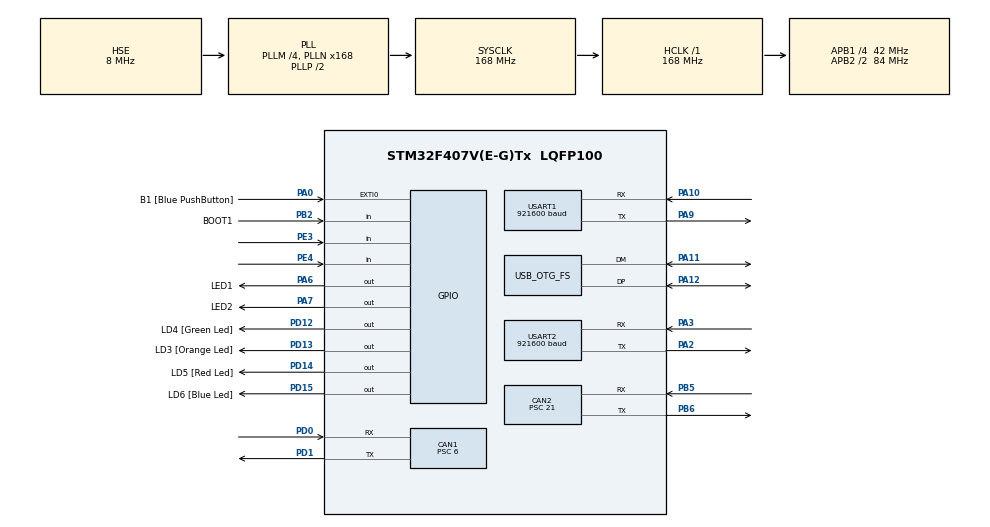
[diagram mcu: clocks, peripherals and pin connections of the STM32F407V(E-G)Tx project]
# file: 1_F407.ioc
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CAN1.BS1=CAN_BS1_11TQ
CAN1.BS2=CAN_BS2_2TQ
CAN1.CalculateBaudRate=500000
CAN1.CalculateTimeBit=2000
CAN1.CalculateTimeQuantum=142.85714285714286
CAN1.Prescaler=6
CAN2.BS1=CAN_BS1_13TQ
CAN2.BS2=CAN_BS2_2TQ
CAN2.CalculateBaudRate=125000
CAN2.CalculateTimeBit=8000
CAN2.CalculateTimeQuantum=500.0
CAN2.Prescaler=21
Dma.Request0=USART1_RX
Dma.Request1=USART1_TX
Dma.Request2=USART2_TX
Dma.Request3=USART2_RX
Dma.USART1_RX.0.Direction=DMA_PERIPH_TO_MEMORY
Dma.USART1_RX.0.FIFOMode=DMA_FIFOMODE_DISABLE
Dma.USART1_RX.0.Instance=DMA2_Stream2
Dma.USART1_RX.0.MemDataAlignment=DMA_MDATAALIGN_BYTE
Dma.USART1_RX.0.MemInc=DMA_MINC_ENABLE
Dma.USART1_RX.0.Mode=DMA_NORMAL
Dma.USART1_RX.0.PeriphDataAlignment=DMA_PDATAALIGN_BYTE
Dma.USART1_RX.0.PeriphInc=DMA_PINC_DISABLE
Dma.USART1_RX.0.Priority=DMA_PRIORITY_LOW
Dma.USART1_TX.1.Direction=DMA_MEMORY_TO_PERIPH
Dma.USART1_TX.1.FIFOMode=DMA_FIFOMODE_DISABLE
Dma.USART1_TX.1.Instance=DMA2_Stream7
Dma.USART1_TX.1.MemDataAlignment=DMA_MDATAALIGN_BYTE
Dma.USART1_TX.1.MemInc=DMA_MINC_ENABLE
Dma.USART1_TX.1.Mode=DMA_NORMAL
Dma.USART1_TX.1.PeriphDataAlignment=DMA_PDATAALIGN_BYTE
Dma.USART1_TX.1.PeriphInc=DMA_PINC_DISABLE
Dma.USART1_TX.1.Priority=DMA_PRIORITY_LOW
Dma.USART2_RX.3.Direction=DMA_PERIPH_TO_MEMORY
Dma.USART2_RX.3.FIFOMode=DMA_FIFOMODE_DISABLE
Dma.USART2_RX.3.Instance=DMA1_Stream5
Dma.USART2_RX.3.MemDataAlignment=DMA_MDATAALIGN_BYTE
Dma.USART2_RX.3.MemInc=DMA_MINC_ENABLE
Dma.USART2_RX.3.Mode=DMA_NORMAL
Dma.USART2_RX.3.PeriphDataAlignment=DMA_PDATAALIGN_BYTE
Dma.USART2_RX.3.PeriphInc=DMA_PINC_DISABLE
Dma.USART2_RX.3.Priority=DMA_PRIORITY_LOW
Dma.USART2_TX.2.Direction=DMA_MEMORY_TO_PERIPH
Dma.USART2_TX.2.FIFOMode=DMA_FIFOMODE_DISABLE
Dma.USART2_TX.2.Instance=DMA1_Stream6
Dma.USART2_TX.2.MemDataAlignment=DMA_MDATAALIGN_BYTE
Dma.USART2_TX.2.MemInc=DMA_MINC_ENABLE
Dma.USART2_TX.2.Mode=DMA_NORMAL
Dma.USART2_TX.2.PeriphDataAlignment=DMA_PDATAALIGN_BYTE
Dma.USART2_TX.2.PeriphInc=DMA_PINC_DISABLE
Dma.USART2_TX.2.Priority=DMA_PRIORITY_LOW
Mcu.Family=STM32F4
Mcu.Name=STM32F407V(E-G)Tx
Mcu.Package=LQFP100
NVIC.CAN1_RX0_IRQn=true\:0\:0\:false\:false\:true\:true\:true\:true
NVIC.CAN1_RX1_IRQn=true\:0\:0\:false\:false\:true\:true\:true\:true
NVIC.CAN1_SCE_IRQn=true\:0\:0\:false\:false\:true\:true\:true\:true
NVIC.CAN1_TX_IRQn=true\:0\:0\:false\:false\:true\:true\:true\:true
NVIC.DMA1_Stream5_IRQn=true\:0\:0\:false\:false\:true\:false\:true\:true
NVIC.DMA1_Stream6_IRQn=true\:0\:0\:false\:false\:true\:false\:true\:true
NVIC.DMA2_Stream2_IRQn=true\:0\:0\:false\:false\:true\:false\:true\:true
NVIC.DMA2_Stream7_IRQn=true\:0\:0\:false\:false\:true\:false\:true\:true
NVIC.OTG_FS_IRQn=true\:0\:0\:false\:false\:true\:false\:true\:true
NVIC.PriorityGroup=NVIC_PRIORITYGROUP_0
NVIC.TIM4_IRQn=true\:0\:0\:false\:false\:true\:true\:true\:true
NVIC.TIM8_TRG_COM_TIM14_IRQn=true\:0\:0\:false\:false\:true\:true\:true\:true
NVIC.USART1_IRQn=true\:0\:0\:false\:false\:true\:true\:true\:true
NVIC.USART2_IRQn=true\:0\:0\:false\:false\:true\:true\:true\:true
PA0-WKUP.GPIO_Label=B1 [Blue PushButton]
PA0-WKUP.GPIO_ModeDefaultEXTI=GPIO_MODE_EVT_RISING
PA0-WKUP.GPIO_PuPd=GPIO_NOPULL
PA0-WKUP.Signal=GPXTI0
PA10.Mode=Asynchronous
PA10.Signal=USART1_RX
PA11.Mode=Device_Only
PA11.Signal=USB_OTG_FS_DM
PA12.Mode=Device_Only
PA12.Signal=USB_OTG_FS_DP
PA13.GPIO_Label=SWDIO
PA13.Mode=Serial_Wire
PA13.Signal=SYS_JTMS-SWDIO
PA14.GPIO_Label=SWCLK
PA14.Mode=Serial_Wire
PA14.Signal=SYS_JTCK-SWCLK
PA2.Mode=Asynchronous
PA2.Signal=USART2_TX
PA3.Mode=Asynchronous
PA3.Signal=USART2_RX
PA6.GPIO_Label=LED1
PA6.PinState=GPIO_PIN_SET
PA6.Signal=GPIO_Output
PA7.GPIO_Label=LED2
PA7.PinState=GPIO_PIN_SET
PA7.Signal=GPIO_Output
PA9.Mode=Asynchronous
PA9.Signal=USART1_TX
PB2.GPIO_Label=BOOT1
PB2.GPIO_Mode=GPIO_MODE_INPUT
PB2.GPIO_PuPd=GPIO_NOPULL
PB2.Signal=GPIO_Input
PB3.GPIO_Label=SWO
PB3.Signal=SYS_JTDO-SWO
PB5.Mode=CAN_Activate
PB5.Signal=CAN2_RX
PB6.Mode=CAN_Activate
PB6.Signal=CAN2_TX
PC14-OSC32_IN.GPIO_Label=PC14-OSC32_IN
PC14-OSC32_IN.Mode=LSE-External-Oscillator
PC14-OSC32_IN.Signal=RCC_OSC32_IN
PC15-OSC32_OUT.GPIO_Label=PC15-OSC32_OUT
PC15-OSC32_OUT.Mode=LSE-External-Oscillator
PC15-OSC32_OUT.Signal=RCC_OSC32_OUT
PD0.Mode=CAN_Activate
PD0.Signal=CAN1_RX
PD1.Mode=CAN_Activate
PD1.Signal=CAN1_TX
PD12.GPIO_Label=LD4 [Green Led]
PD12.GPIO_PuPd=GPIO_NOPULL
PD12.GPIO_Speed=GPIO_SPEED_FREQ_LOW
PD12.Signal=GPIO_Output
PD13.GPIO_Label=LD3 [Orange Led]
PD13.GPIO_PuPd=GPIO_NOPULL
PD13.GPIO_Speed=GPIO_SPEED_FREQ_LOW
PD13.Signal=GPIO_Output
PD14.GPIO_Label=LD5 [Red Led]
PD14.GPIO_PuPd=GPIO_NOPULL
PD14.GPIO_Speed=GPIO_SPEED_FREQ_LOW
PD14.Signal=GPIO_Output
PD15.GPIO_Label=LD6 [Blue Led]
PD15.GPIO_PuPd=GPIO_NOPULL
PD15.GPIO_Speed=GPIO_SPEED_FREQ_LOW
PD15.Signal=GPIO_Output
PE3.Signal=GPIO_Input
PE4.Signal=GPIO_Input
PH0-OSC_IN.GPIO_Label=PH0-OSC_IN
PH0-OSC_IN.Mode=HSE-External-Oscillator
PH0-OSC_IN.Signal=RCC_OSC_IN
PH1-OSC_OUT.GPIO_Label=PH1-OSC_OUT
PH1-OSC_OUT.Mode=HSE-External-Oscillator
PH1-OSC_OUT.Signal=RCC_OSC_OUT
ProjectManager.HeapSize=0x800
ProjectManager.StackSize=0x800
ProjectManager.TargetToolchain=STM32CubeIDE
RCC.48MHZClocksFreq_Value=48000000
RCC.AHBFreq_Value=168000000
RCC.APB1CLKDivider=RCC_HCLK_DIV4
RCC.APB1Freq_Value=42000000
RCC.APB1TimFreq_Value=84000000
RCC.APB2CLKDivider=RCC_HCLK_DIV2
RCC.APB2Freq_Value=84000000
RCC.APB2TimFreq_Value=168000000
RCC.CortexFreq_Value=168000000
RCC.HCLKFreq_Value=168000000
RCC.HSE_VALUE=8000000
RCC.HSI_VALUE=16000000
RCC.PLLI2SN=50
RCC.PLLM=4
RCC.PLLN=168
RCC.PLLQ=7
RCC.SYSCLKFreq_VALUE=168000000
RCC.SYSCLKSource=RCC_SYSCLKSOURCE_PLLCLK
RCC.VCOOutputFreq_Value=336000000
TIM14.Period=999
TIM14.Prescaler=167
TIM4.Period=999
TIM4.Prescaler=167
TIM4.TIM_MasterOutputTrigger=TIM_TRGO_UPDATE
USART1.BaudRate=921600
USART1.StopBits=STOPBITS_2
USART1.VirtualMode=VM_ASYNC
USART2.BaudRate=921600
USART2.StopBits=STOPBITS_2
USART2.VirtualMode=VM_ASYNC
USB_DEVICE.APP_RX_DATA_SIZE-CDC_FS=2048
USB_DEVICE.CLASS_NAME_FS=CDC
USB_DEVICE.VirtualMode-CDC_FS=Cdc
USB_DEVICE.VirtualModeFS=Cdc_FS
USB_OTG_FS.VirtualMode=Device_Only
VP_TIM14_VS_ClockSourceINT.Mode=Enable_Timer
VP_TIM4_VS_ClockSourceINT.Mode=Internal
VP_USB_DEVICE_VS_USB_DEVICE_CDC_FS.Mode=CDC_FS
board=STM32F407G-DISC1

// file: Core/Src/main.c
/* USER CODE BEGIN Header */
/**
  ******************************************************************************
  * @file           : main.c
  * @brief          : Main program body
  ******************************************************************************
  * @attention
  *
  * Copyright (c) 2024 STMicroelectronics.
  * All rights reserved.
  *
  * This software is licensed under terms that can be found in the LICENSE file
  * in the root directory of this software component.
  * If no LICENSE file comes with this software, it is provided AS-IS.
  *
  *
  *
  *			UPPER__Located__PCBmodul__STM32F407
  *
  *				NodeID = 103
  *
  ******************************************************************************
  */
/* USER CODE END Header */
#include "main.h"
#include "usb_device.h"

/* USER CODE BEGIN Includes */
#include "CO_app_STM32.h"
#include "301/CO_SDOclient.h"
#include "CANopen.h"
#include "OD.h"
/* USER CODE END Includes */

/* USER CODE BEGIN PD */
#define TerminalInterface	huart1
/* USER CODE END PD */

CAN_HandleTypeDef hcan1;
CAN_HandleTypeDef hcan2;

TIM_HandleTypeDef htim4;
TIM_HandleTypeDef htim14;

UART_HandleTypeDef huart1;
UART_HandleTypeDef huart2;
DMA_HandleTypeDef hdma_usart1_rx;
DMA_HandleTypeDef hdma_usart1_tx;
DMA_HandleTypeDef hdma_usart2_tx;
DMA_HandleTypeDef hdma_usart2_rx;

/* USER CODE BEGIN PV */
uint8_t Tx_Array[16]={0x51,0x62,0x73,0x84,0x55,0x46,0x87,0x18,0x29,0x10,0x11,0x12,0x13,0x14,0x15,0x33};
uint8_t Rx_Array[16]={0};
uint32_t Array_32u[16]={0};
uint8_t Array_8u[16]={0x54,0x34,0x21,0xea,0xf3,0x7a,0xd4,0x46};
uint8_t Length_of_Ext_Var=0;
uint8_t Local_Count=0;

CAN_TxHeaderTypeDef Tx_Header;
uint32_t            TxMailbox;
uint32_t            tmp32u_1   = 0x1e1f1a1b;
uint32_t            tmp32u_0   = 0x0e0f0a0b;
uint64_t            tmp64u_0   = 0x0e1f1a1b56789a;
uint64_t            tmp64u_1   = 0x0e1f1a1b56789a;
uint32_t            Ticks;
char String_H[]={"String_for_Test_UART_"};

/* USER CODE END PV */

void SystemClock_Config(void);
static void MX_GPIO_Init(void);
static void MX_DMA_Init(void);
static void MX_TIM14_Init(void);
static void MX_CAN2_Init(void);
static void MX_CAN1_Init(void);
static void MX_USART1_UART_Init(void);
static void MX_USART2_UART_Init(void);
static void MX_TIM4_Init(void);

/* USER CODE BEGIN 0 */

/* Timer interrupt function executes every 1 ms */
void
HAL_TIM_PeriodElapsedCallback(TIM_HandleTypeDef* htim) {
    if (htim == canopenNodeSTM32->timerHandle) {
        canopen_app_interrupt();
    }
}

CO_SDO_abortCode_t
read_SDO (
		  CO_SDOclient_t* SDO_C,
		  uint8_t nodeId,
		  uint16_t index,
		  uint8_t subIndex,
		  uint8_t* buf,
		  size_t bufSize,
		  size_t* readSize
		  )
{
    CO_SDO_return_t SDO_ret;

    // setup client (this can be skipped, if remote device don't change)
    SDO_ret = CO_SDOclient_setup (
    								SDO_C, CO_CAN_ID_SDO_CLI + nodeId,
									CO_CAN_ID_SDO_SRV + nodeId,
									nodeId);

    if (SDO_ret != CO_SDO_RT_ok_communicationEnd) { return CO_SDO_AB_GENERAL; }

    // initiate upload
    SDO_ret = CO_SDOclientUploadInitiate ( SDO_C,
    										index,
											subIndex,
											1000,
											false);

    if (SDO_ret != CO_SDO_RT_ok_communicationEnd) { return CO_SDO_AB_GENERAL; }

    // upload data
    do 	{
        uint32_t timeDifference_us = 10000;
        CO_SDO_abortCode_t abortCode = CO_SDO_AB_NONE;

        SDO_ret = CO_SDOclientUpload(SDO_C, timeDifference_us, false, &abortCode, NULL, NULL, NULL);

        if (SDO_ret < 0) {  return abortCode;  }

        HAL_Delay(timeDifference_us/1000);// sleep_us(timeDifference_us);

    	} while (SDO_ret > 0);

    // copy data to the user buffer (for long data function must be called several times inside the loop)
    *readSize = CO_SDOclientUploadBufRead(SDO_C, buf, bufSize);

    return CO_SDO_AB_NONE;
}

CO_SDO_abortCode_t
write_SDO (
			CO_SDOclient_t* SDO_C,
			uint8_t nodeId,
			uint16_t index,
			uint8_t subIndex,
			uint8_t* data,
			size_t dataSize
			)
{
    CO_SDO_return_t SDO_ret;
    bool_t bufferPartial = false;

    // setup client (this can be skipped, if remote device is the same)
    SDO_ret = CO_SDOclient_setup (	SDO_C,
    								CO_CAN_ID_SDO_CLI + nodeId,
									CO_CAN_ID_SDO_SRV + nodeId,
									nodeId);

    if (SDO_ret != CO_SDO_RT_ok_communicationEnd) { return -1; }

    // initiate download
    SDO_ret = CO_SDOclientDownloadInitiate(SDO_C, index, subIndex, dataSize, 1000, false);

    if (SDO_ret != CO_SDO_RT_ok_communicationEnd) /**< Success, end of communication. SDO client: uploaded data must be read. */
    	{ return -1; }

    // fill data
    size_t nWritten = CO_SDOclientDownloadBufWrite(SDO_C, data, dataSize);

    if (nWritten < dataSize) { bufferPartial = true; } // If SDO Fifo buffer is too small, data can be refilled in the loop.

    // download data
    do {
        uint32_t timeDifference_us = 10000;
        CO_SDO_abortCode_t abortCode = CO_SDO_AB_NONE;

        SDO_ret = CO_SDOclientDownload (	SDO_C,
        									timeDifference_us,
											false, bufferPartial,
											&abortCode,
											NULL,
											NULL
										);

        if (SDO_ret < 0) {  return abortCode;}

        HAL_Delay(timeDifference_us/1000); //sleep_us(timeDifference_us);

       } while (SDO_ret > 0);

    return CO_SDO_AB_NONE;
}
/* USER CODE END 0 */

int main(void)
{

  /* MCU Configuration--------------------------------------------------------*/

  /* Reset of all peripherals, Initializes the Flash interface and the Systick. */
  HAL_Init();

  /* Configure the system clock */
  SystemClock_Config();

  /* Initialize all configured peripherals */
  MX_GPIO_Init();
  MX_DMA_Init();
  MX_TIM14_Init();
  MX_CAN2_Init();
  MX_CAN1_Init();
  MX_USART1_UART_Init();
  MX_USB_DEVICE_Init();
  MX_USART2_UART_Init();
  MX_TIM4_Init();
  /* USER CODE BEGIN 2 */
  /* CANHandle : Pass in the CAN Handle to this function and it wil be used for all CAN Communications. It can be FDCan or CAN
   * and CANOpenSTM32 Driver will take of care of handling that
   * HWInitFunction : Pass in the function that initialize the CAN peripheral, usually MX_CAN_Init
   * timerHandle : Pass in the timer that is going to be used for generating 1ms interrupt for tmrThread function,
   * please note that CANOpenSTM32 Library will override HAL_TIM_PeriodElapsedCallback function, if you also need this function
   * in your codes, please take required steps
   * desiredNodeID : This is the Node ID that you ask the CANOpen stack to assign to your device, although it might not always
   * be the final NodeID, after calling canopen_app_init() you should check ActiveNodeID of CANopenNodeSTM32 structure for assigned Node ID.
   * baudrate: This is the baudrate you've set in your CubeMX Configuration
   *
   */

//  HAL_Delay(500);
//  Local_Count = sizeof String_H;
//  String_H[Local_Count-1] = 0x0d;
//  HAL_UART_Transmit_DMA( &TerminalInterface, (uint8_t*)(String_H), Local_Count);
//  while (1){}
 #if 0
  Tx_Header.IDE    = CAN_ID_STD;
  Tx_Header.ExtId  = 0;
  Tx_Header.DLC    = 8;
  Tx_Header.StdId  = 0x7AA;
  Tx_Header.RTR    = CAN_RTR_DATA;
  HAL_CAN_Start(&hcan1);  HAL_Delay(1500);

  if(HAL_CAN_AddTxMessage( &hcan1,
    		               &Tx_Header,
							Tx_Array, &TxMailbox )==HAL_OK
  	 )
	  {  /* Wait transmission complete */
	  //while(HAL_CAN_GetTxMailboxesFreeLevel(&hcan1) != 3) {}
		  for(uint8_t cnt=0;cnt<22;cnt++)
		  {
		   HAL_GPIO_TogglePin(LED2_GPIO_Port, LED2_Pin);//green
		   HAL_Delay(46);
		  }
	  }
#endif

  for(uint8_t cnt=0;cnt<50;cnt++)
  {
	  	HAL_GPIO_TogglePin(GPIOA, GPIO_PIN_6 );//yellow
	  	//HAL_GPIO_TogglePin(GPIOA, GPIO_PIN_7 );//green
  HAL_Delay(33);
  }

  HAL_TIM_Base_Start_IT(&htim4);

   CANopenNodeSTM32 canOpenNodeSTM32;
   canOpenNodeSTM32.CANHandle = &hcan1;
   canOpenNodeSTM32.HWInitFunction = MX_CAN1_Init;
   canOpenNodeSTM32.timerHandle = &htim4;
   canOpenNodeSTM32.desiredNodeID = 0x67;			//103
   canOpenNodeSTM32.baudrate = 125*4;
   canopen_app_init(&canOpenNodeSTM32);

  /* USER CODE END 2 */

  /* Infinite loop */
  /* USER CODE BEGIN WHILE */

	  read_SDO (
			    canOpenNodeSTM32.canOpenStack->SDOclient,
			  	72,										//remote desiredNodeID
				0x6038,										//Index_of_OD_variable_at_remote_NodeID
				0x0E,											//Sub_Index_of_OD_variable
				Rx_Array,									//Saved_Received_Data
				4,											//Number_of_Byte_to_read
				(size_t*)&Length_of_Ext_Var );

	  HAL_Delay(100);

	  	  TerminalInterface.gState = HAL_UART_STATE_READY;
		HAL_UART_Transmit_DMA( &TerminalInterface, (uint8_t*)Rx_Array, 8);

		  	  write_SDO(
		  			    canOpenNodeSTM32.canOpenStack->SDOclient,
		  			  	72,										//remote desiredNodeID
		  				0x6038,										//Index_of_OD_variable_at_remote_NodeID
						0x0E,											//Sub_Index_of_OD_variable
		  				Array_8u,									//
		  				4);

		  	  HAL_Delay(100);

  	  read_SDO (
  			    canOpenNodeSTM32.canOpenStack->SDOclient,
  			  	72,										//remote desiredNodeID
  				0x6038,										//Index_of_OD_variable_at_remote_NodeID
  				0x0E,											//Sub_Index_of_OD_variable
  				Rx_Array,									//Saved_Received_Data
  				4,											//Number_of_Byte_to_read
  				(size_t*)&Length_of_Ext_Var );

	  HAL_Delay(100);

	  TerminalInterface.gState = HAL_UART_STATE_READY;
	  HAL_UART_Transmit_DMA( &TerminalInterface, (uint8_t*)Rx_Array, 8);

	  HAL_Delay(100);

		  OD_PERSIST_COMM.x6000_upper_F4XX_VAR32_6000_TX=0;
		  Local_Count=0;
		  while (1)
		  {
			  HAL_GPIO_WritePin(GPIOA, GPIO_PIN_6, !canOpenNodeSTM32.outStatusLEDGreen);
			  HAL_GPIO_WritePin(GPIOA, GPIO_PIN_7, canOpenNodeSTM32.outStatusLEDRed  );

			  canopen_app_process();

			  			if(tmp32u_0 != OD_PERSIST_COMM.x6001_upper_F4XX_VAR32_6001R)
			  			{
			  			tmp32u_0 = OD_PERSIST_COMM.x6001_upper_F4XX_VAR32_6001R;

			  			TerminalInterface.gState = HAL_UART_STATE_READY;
			  			HAL_UART_Transmit_DMA( &TerminalInterface, (uint8_t*)(&tmp32u_0), 4);
			  			}

			  			if(tmp32u_1 != OD_PERSIST_COMM.x6002_upper_F4XX_VAR32_6002R)
			  			{
			  			tmp32u_1 = OD_PERSIST_COMM.x6002_upper_F4XX_VAR32_6002R;
			  			TerminalInterface.gState = HAL_UART_STATE_READY;
			  			HAL_UART_Transmit_DMA( &TerminalInterface, (uint8_t*)(&tmp32u_1), 4);
			  			}

			  		  if(HAL_GetTick() - Ticks>999)
			  		  {
			  			  Ticks = HAL_GetTick();
			  			CO_TPDOsendRequest(&canOpenNodeSTM32.canOpenStack->TPDO[0] );
			  		  }

    /* USER CODE END WHILE */

  }
}

void SystemClock_Config(void)
{
  RCC_OscInitTypeDef RCC_OscInitStruct = {0};
  RCC_ClkInitTypeDef RCC_ClkInitStruct = {0};

  /** Configure the main internal regulator output voltage
  */
  __HAL_RCC_PWR_CLK_ENABLE();
  __HAL_PWR_VOLTAGESCALING_CONFIG(PWR_REGULATOR_VOLTAGE_SCALE1);

  /** Initializes the RCC Oscillators according to the specified parameters
  * in the RCC_OscInitTypeDef structure.
  */
  RCC_OscInitStruct.OscillatorType = RCC_OSCILLATORTYPE_HSE;
  RCC_OscInitStruct.HSEState = RCC_HSE_ON;
  RCC_OscInitStruct.PLL.PLLState = RCC_PLL_ON;
  RCC_OscInitStruct.PLL.PLLSource = RCC_PLLSOURCE_HSE;
  RCC_OscInitStruct.PLL.PLLM = 4;
  RCC_OscInitStruct.PLL.PLLN = 168;
  RCC_OscInitStruct.PLL.PLLP = RCC_PLLP_DIV2;
  RCC_OscInitStruct.PLL.PLLQ = 7;
  if (HAL_RCC_OscConfig(&RCC_OscInitStruct) != HAL_OK)
  {
    Error_Handler();
  }

  /** Initializes the CPU, AHB and APB buses clocks
  */
  RCC_ClkInitStruct.ClockType = RCC_CLOCKTYPE_HCLK|RCC_CLOCKTYPE_SYSCLK
                              |RCC_CLOCKTYPE_PCLK1|RCC_CLOCKTYPE_PCLK2;
  RCC_ClkInitStruct.SYSCLKSource = RCC_SYSCLKSOURCE_PLLCLK;
  RCC_ClkInitStruct.AHBCLKDivider = RCC_SYSCLK_DIV1;
  RCC_ClkInitStruct.APB1CLKDivider = RCC_HCLK_DIV4;
  RCC_ClkInitStruct.APB2CLKDivider = RCC_HCLK_DIV2;

  if (HAL_RCC_ClockConfig(&RCC_ClkInitStruct, FLASH_LATENCY_5) != HAL_OK)
  {
    Error_Handler();
  }
}

static void MX_CAN1_Init(void)
{

  hcan1.Instance = CAN1;
  hcan1.Init.Prescaler = 6;
  hcan1.Init.Mode = CAN_MODE_NORMAL;
  hcan1.Init.SyncJumpWidth = CAN_SJW_1TQ;
  hcan1.Init.TimeSeg1 = CAN_BS1_11TQ;
  hcan1.Init.TimeSeg2 = CAN_BS2_2TQ;
  hcan1.Init.TimeTriggeredMode = DISABLE;
  hcan1.Init.AutoBusOff = DISABLE;
  hcan1.Init.AutoWakeUp = DISABLE;
  hcan1.Init.AutoRetransmission = DISABLE;
  hcan1.Init.ReceiveFifoLocked = DISABLE;
  hcan1.Init.TransmitFifoPriority = DISABLE;
  if (HAL_CAN_Init(&hcan1) != HAL_OK)
  {
    Error_Handler();
  }

}

static void MX_CAN2_Init(void)
{

  hcan2.Instance = CAN2;
  hcan2.Init.Prescaler = 21;
  hcan2.Init.Mode = CAN_MODE_NORMAL;
  hcan2.Init.SyncJumpWidth = CAN_SJW_1TQ;
  hcan2.Init.TimeSeg1 = CAN_BS1_13TQ;
  hcan2.Init.TimeSeg2 = CAN_BS2_2TQ;
  hcan2.Init.TimeTriggeredMode = DISABLE;
  hcan2.Init.AutoBusOff = DISABLE;
  hcan2.Init.AutoWakeUp = DISABLE;
  hcan2.Init.AutoRetransmission = DISABLE;
  hcan2.Init.ReceiveFifoLocked = DISABLE;
  hcan2.Init.TransmitFifoPriority = DISABLE;
  if (HAL_CAN_Init(&hcan2) != HAL_OK)
  {
    Error_Handler();
  }

}

static void MX_TIM4_Init(void)
{

  TIM_ClockConfigTypeDef sClockSourceConfig = {0};
  TIM_MasterConfigTypeDef sMasterConfig = {0};

  htim4.Instance = TIM4;
  htim4.Init.Prescaler = 167;
  htim4.Init.CounterMode = TIM_COUNTERMODE_UP;
  htim4.Init.Period = 999;
  htim4.Init.ClockDivision = TIM_CLOCKDIVISION_DIV1;
  htim4.Init.AutoReloadPreload = TIM_AUTORELOAD_PRELOAD_DISABLE;
  if (HAL_TIM_Base_Init(&htim4) != HAL_OK)
  {
    Error_Handler();
  }
  sClockSourceConfig.ClockSource = TIM_CLOCKSOURCE_INTERNAL;
  if (HAL_TIM_ConfigClockSource(&htim4, &sClockSourceConfig) != HAL_OK)
  {
    Error_Handler();
  }
  sMasterConfig.MasterOutputTrigger = TIM_TRGO_UPDATE;
  sMasterConfig.MasterSlaveMode = TIM_MASTERSLAVEMODE_DISABLE;
  if (HAL_TIMEx_MasterConfigSynchronization(&htim4, &sMasterConfig) != HAL_OK)
  {
    Error_Handler();
  }

}

static void MX_TIM14_Init(void)
{

  htim14.Instance = TIM14;
  htim14.Init.Prescaler = 167;
  htim14.Init.CounterMode = TIM_COUNTERMODE_UP;
  htim14.Init.Period = 999;
  htim14.Init.ClockDivision = TIM_CLOCKDIVISION_DIV1;
  htim14.Init.AutoReloadPreload = TIM_AUTORELOAD_PRELOAD_DISABLE;
  if (HAL_TIM_Base_Init(&htim14) != HAL_OK)
  {
    Error_Handler();
  }

}

static void MX_USART1_UART_Init(void)
{

  huart1.Instance = USART1;
  huart1.Init.BaudRate = 921600;
  huart1.Init.WordLength = UART_WORDLENGTH_8B;
  huart1.Init.StopBits = UART_STOPBITS_2;
  huart1.Init.Parity = UART_PARITY_NONE;
  huart1.Init.Mode = UART_MODE_TX_RX;
  huart1.Init.HwFlowCtl = UART_HWCONTROL_NONE;
  huart1.Init.OverSampling = UART_OVERSAMPLING_16;
  if (HAL_UART_Init(&huart1) != HAL_OK)
  {
    Error_Handler();
  }

}

static void MX_USART2_UART_Init(void)
{

  huart2.Instance = USART2;
  huart2.Init.BaudRate = 921600;
  huart2.Init.WordLength = UART_WORDLENGTH_8B;
  huart2.Init.StopBits = UART_STOPBITS_2;
  huart2.Init.Parity = UART_PARITY_NONE;
  huart2.Init.Mode = UART_MODE_TX_RX;
  huart2.Init.HwFlowCtl = UART_HWCONTROL_NONE;
  huart2.Init.OverSampling = UART_OVERSAMPLING_16;
  if (HAL_UART_Init(&huart2) != HAL_OK)
  {
    Error_Handler();
  }

}

static void MX_DMA_Init(void)
{

  /* DMA controller clock enable */
  __HAL_RCC_DMA2_CLK_ENABLE();
  __HAL_RCC_DMA1_CLK_ENABLE();

  /* DMA interrupt init */
  /* DMA1_Stream5_IRQn interrupt configuration */
  HAL_NVIC_SetPriority(DMA1_Stream5_IRQn, 0, 0);
  HAL_NVIC_EnableIRQ(DMA1_Stream5_IRQn);
  /* DMA1_Stream6_IRQn interrupt configuration */
  HAL_NVIC_SetPriority(DMA1_Stream6_IRQn, 0, 0);
  HAL_NVIC_EnableIRQ(DMA1_Stream6_IRQn);
  /* DMA2_Stream2_IRQn interrupt configuration */
  HAL_NVIC_SetPriority(DMA2_Stream2_IRQn, 0, 0);
  HAL_NVIC_EnableIRQ(DMA2_Stream2_IRQn);
  /* DMA2_Stream7_IRQn interrupt configuration */
  HAL_NVIC_SetPriority(DMA2_Stream7_IRQn, 0, 0);
  HAL_NVIC_EnableIRQ(DMA2_Stream7_IRQn);

}

static void MX_GPIO_Init(void)
{
  GPIO_InitTypeDef GPIO_InitStruct = {0};

  /* GPIO Ports Clock Enable */
  __HAL_RCC_GPIOE_CLK_ENABLE();
  __HAL_RCC_GPIOC_CLK_ENABLE();
  __HAL_RCC_GPIOH_CLK_ENABLE();
  __HAL_RCC_GPIOA_CLK_ENABLE();
  __HAL_RCC_GPIOB_CLK_ENABLE();
  __HAL_RCC_GPIOD_CLK_ENABLE();

  /*Configure GPIO pin Output Level */
  HAL_GPIO_WritePin(GPIOA, LED1_Pin|LED2_Pin, GPIO_PIN_SET);

  /*Configure GPIO pin Output Level */
  HAL_GPIO_WritePin(GPIOD, LD4_Pin|LD3_Pin|LD5_Pin|LD6_Pin, GPIO_PIN_RESET);

  /*Configure GPIO pins : PE3 PE4 */
  GPIO_InitStruct.Pin = GPIO_PIN_3|GPIO_PIN_4;
  GPIO_InitStruct.Mode = GPIO_MODE_INPUT;
  GPIO_InitStruct.Pull = GPIO_NOPULL;
  HAL_GPIO_Init(GPIOE, &GPIO_InitStruct);

  /*Configure GPIO pin : B1_Pin */
  GPIO_InitStruct.Pin = B1_Pin;
  GPIO_InitStruct.Mode = GPIO_MODE_EVT_RISING;
  GPIO_InitStruct.Pull = GPIO_NOPULL;
  HAL_GPIO_Init(B1_GPIO_Port, &GPIO_InitStruct);

  /*Configure GPIO pins : LED1_Pin LED2_Pin */
  GPIO_InitStruct.Pin = LED1_Pin|LED2_Pin;
  GPIO_InitStruct.Mode = GPIO_MODE_OUTPUT_PP;
  GPIO_InitStruct.Pull = GPIO_NOPULL;
  GPIO_InitStruct.Speed = GPIO_SPEED_FREQ_LOW;
  HAL_GPIO_Init(GPIOA, &GPIO_InitStruct);

  /*Configure GPIO pin : BOOT1_Pin */
  GPIO_InitStruct.Pin = BOOT1_Pin;
  GPIO_InitStruct.Mode = GPIO_MODE_INPUT;
  GPIO_InitStruct.Pull = GPIO_NOPULL;
  HAL_GPIO_Init(BOOT1_GPIO_Port, &GPIO_InitStruct);

  /*Configure GPIO pins : LD4_Pin LD3_Pin LD5_Pin LD6_Pin */
  GPIO_InitStruct.Pin = LD4_Pin|LD3_Pin|LD5_Pin|LD6_Pin;
  GPIO_InitStruct.Mode = GPIO_MODE_OUTPUT_PP;
  GPIO_InitStruct.Pull = GPIO_NOPULL;
  GPIO_InitStruct.Speed = GPIO_SPEED_FREQ_LOW;
  HAL_GPIO_Init(GPIOD, &GPIO_InitStruct);

}

void Error_Handler(void)
{
  __disable_irq();
  while (1)
  {
  }
}
